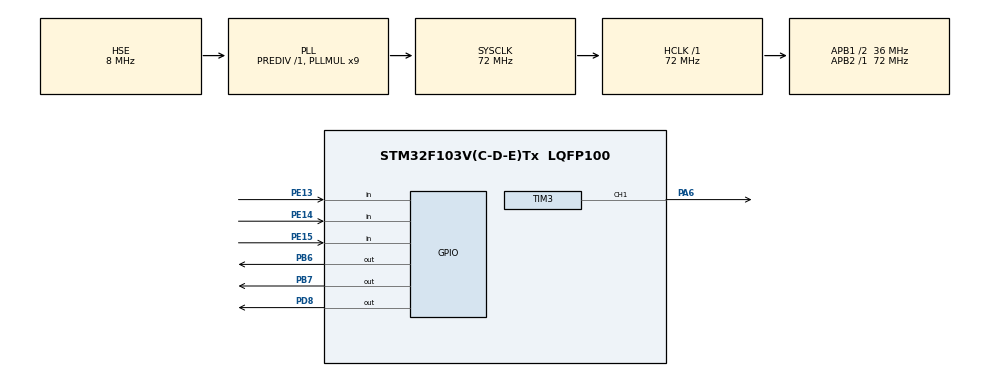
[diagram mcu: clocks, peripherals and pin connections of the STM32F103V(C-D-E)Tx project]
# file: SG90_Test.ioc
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Mcu.Family=STM32F1
Mcu.Name=STM32F103V(C-D-E)Tx
Mcu.Package=LQFP100
NVIC.PriorityGroup=NVIC_PRIORITYGROUP_4
OSC_IN.Mode=HSE-External-Oscillator
OSC_IN.Signal=RCC_OSC_IN
OSC_OUT.Mode=HSE-External-Oscillator
OSC_OUT.Signal=RCC_OSC_OUT
PA13.Mode=Serial_Wire
PA13.Signal=SYS_JTMS-SWDIO
PA14.Mode=Serial_Wire
PA14.Signal=SYS_JTCK-SWCLK
PA6.Signal=S_TIM3_CH1
PB6.PinState=GPIO_PIN_SET
PB6.Signal=GPIO_Output
PB7.PinState=GPIO_PIN_SET
PB7.Signal=GPIO_Output
PD8.PinState=GPIO_PIN_SET
PD8.Signal=GPIO_Output
PE13.GPIO_PuPd=GPIO_PULLUP
PE13.Signal=GPIO_Input
PE14.GPIO_PuPd=GPIO_PULLUP
PE14.Signal=GPIO_Input
PE15.GPIO_PuPd=GPIO_PULLUP
PE15.Signal=GPIO_Input
ProjectManager.HeapSize=0x200
ProjectManager.StackSize=0x400
ProjectManager.TargetToolchain=MDK-ARM V5.32
RCC.AHBFreq_Value=72000000
RCC.APB1CLKDivider=RCC_HCLK_DIV2
RCC.APB1Freq_Value=36000000
RCC.APB1TimFreq_Value=72000000
RCC.APB2Freq_Value=72000000
RCC.APB2TimFreq_Value=72000000
RCC.HCLKFreq_Value=72000000
RCC.PLLMUL=RCC_PLL_MUL9
RCC.PLLSourceVirtual=RCC_PLLSOURCE_HSE
RCC.SYSCLKFreq_VALUE=72000000
RCC.SYSCLKSource=RCC_SYSCLKSOURCE_PLLCLK
RCC.USBFreq_Value=72000000
SH.S_TIM3_CH1.0=TIM3_CH1,PWM Generation1 CH1
TIM3.Channel-PWM\ Generation1\ CH1=TIM_CHANNEL_1
TIM3.Period=19999
TIM3.Prescaler=71
VP_TIM3_VS_ClockSourceINT.Mode=Internal
board=custom

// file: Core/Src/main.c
/*******************************************************************************
 * @file      main.c
 * @author    Sunbinyuan（EEE2409036@xmu.edu.my）
 * @version   V1.0.1
 * @date      2026-11-09
 * @brief     SG90舵机按键控制实验: 3按键(PE13/PE14/PE15, 按下接地)
 *           调整TIM3_CH1(PA6)输出的舵机目标角度(0~180度),
 *           SW2减小/SW3增大当前步进角度, SW4在细调(5度)与
 *           粗调(15度)间切换, LED3/LED4互斥指示模式, LED5心跳500ms

 * @note     预期现象: 上电舵机回中位(90度, 约1500us), LED3亮LED4灭,
 *           LED5每500ms翻转; 按SW2/SW3角度按步进增减(边界饱和不回绕),
 *           按SW4切换步进且LED3/LED4切换; 全程非阻塞,
 *           PWM由TIM3硬件输出(72MHz/72=1us/tick, ARR=19999即50Hz)
 *           时钟HSE 8MHz x PLL9 = 72MHz, APB1=36MHz, TIM3时钟=72MHz

 * @history   V1.0.1 调大按键步进: 细调1->5度, 粗调5->15度          ---2026-11-09
 *            V1.0.0 首版: 舵机按键控制实验(细调/粗调/心跳)       ---2026-10-20
 ******************************************************************************/

/* USER CODE BEGIN Header */
/* 注: 文件信息见顶部规范文件头 (个人编程代码规范) */
/* USER CODE END Header */
#include "main.h"
#include "tim.h"
#include "gpio.h"

/* USER CODE BEGIN Includes */
#include "app_servo.h"
#include "app_button.h"
#include "app_led.h"
/* USER CODE END Includes */

/* USER CODE BEGIN PD */
#define SERVO_STEP_FINE_DEG     5U   /* 细调步进(度/次) */
#define SERVO_STEP_COARSE_DEG  15U   /* 粗调步进(度/次) */
/* USER CODE END PD */

/* USER CODE BEGIN PV */
static uint8_t g_servo_mode = APP_LED_MODE_FINE; /* 当前调节模式 */
/* USER CODE END PV */

void SystemClock_Config(void);

/*************************************
 * 函数名称 ： main
 * 描述     ： 主函数, 初始化时钟/GPIO/TIM3后启动舵机PWM(90度中位),
 *             默认细调模式, 主循环非阻塞执行按键扫描与心跳
 * 输入     ： 无
 * 输出     ： 无
 * 返回     ： 程序不返回
 **************************************/
int main(void)
{
  /* MCU Configuration--------------------------------------------------------*/

  /* Reset of all peripherals, init Flash interface and the Systick. */
  HAL_Init();

  /* Configure the system clock */
  SystemClock_Config();

  /* Initialize all configured peripherals */
  MX_GPIO_Init();
  MX_TIM3_Init();

  /* USER CODE BEGIN 2 */
  app_servo_init();                      /* 启动PWM, 90度约1500us中位 */
  g_servo_mode = APP_LED_MODE_FINE;      /* 上电默认细调(1度/步) */
  app_led_set_mode(g_servo_mode);        /* LED3亮, LED4灭 */
  /* USER CODE END 2 */

  /* Infinite loop */
  /* USER CODE BEGIN WHILE */
  while (1)
  {
    uint8_t events = app_button_scan();  /* 非阻塞按键扫描+消抖 */

    if ((events & APP_BTN_EVENT_MODE) != 0U)
    {
      g_servo_mode ^= 1U;                /* SW4: 细调<->粗调 */
      app_led_set_mode(g_servo_mode);    /* LED3/LED4互斥切换 */
    }
    if ((events & APP_BTN_EVENT_DEC) != 0U)
    {
      uint16_t step = (g_servo_mode == APP_LED_MODE_FINE)
                      ? SERVO_STEP_FINE_DEG : SERVO_STEP_COARSE_DEG;
      uint16_t angle = app_servo_get_angle();

      app_servo_set_angle((uint16_t)(angle - step)); /* 减, 内部限幅 */
    }
    if ((events & APP_BTN_EVENT_INC) != 0U)
    {
      uint16_t step = (g_servo_mode == APP_LED_MODE_FINE)
                      ? SERVO_STEP_FINE_DEG : SERVO_STEP_COARSE_DEG;
      uint16_t angle = app_servo_get_angle();

      app_servo_set_angle((uint16_t)(angle + step)); /* 增, 内部限幅 */
    }

    app_led_heartbeat();                 /* LED5 500ms翻转, 非阻塞 */
    /* USER CODE END WHILE */

  }
}

/*************************************
 * 函数名称 ： SystemClock_Config
 * 描述     ： 配置系统时钟: HSE 8MHz经PLL 9倍频至72MHz,
 *             AHB=72MHz, APB1=36MHz(定时器x2=72MHz), APB2=72MHz,
 *             Flash等待2周期
 * 输入     ： 无
 * 输出     ： 无
 * 返回     ： 无
 **************************************/
void SystemClock_Config(void)
{
  RCC_OscInitTypeDef RCC_OscInitStruct = {0};
  RCC_ClkInitTypeDef RCC_ClkInitStruct = {0};

  /** Initializes the RCC Oscillators according to the specified parameters
  * in the RCC_OscInitTypeDef structure.
  */
  RCC_OscInitStruct.OscillatorType = RCC_OSCILLATORTYPE_HSE;
  RCC_OscInitStruct.HSEState = RCC_HSE_ON;
  RCC_OscInitStruct.HSEPredivValue = RCC_HSE_PREDIV_DIV1;
  RCC_OscInitStruct.HSIState = RCC_HSI_ON;
  RCC_OscInitStruct.PLL.PLLState = RCC_PLL_ON;
  RCC_OscInitStruct.PLL.PLLSource = RCC_PLLSOURCE_HSE;
  RCC_OscInitStruct.PLL.PLLMUL = RCC_PLL_MUL9;
  if (HAL_RCC_OscConfig(&RCC_OscInitStruct) != HAL_OK)
  {
    Error_Handler();
  }

  /** Initializes the CPU, AHB and APB buses clocks
  */
  RCC_ClkInitStruct.ClockType = RCC_CLOCKTYPE_HCLK|RCC_CLOCKTYPE_SYSCLK
                              |RCC_CLOCKTYPE_PCLK1|RCC_CLOCKTYPE_PCLK2;
  RCC_ClkInitStruct.SYSCLKSource = RCC_SYSCLKSOURCE_PLLCLK;
  RCC_ClkInitStruct.AHBCLKDivider = RCC_SYSCLK_DIV1;
  RCC_ClkInitStruct.APB1CLKDivider = RCC_HCLK_DIV2;
  RCC_ClkInitStruct.APB2CLKDivider = RCC_HCLK_DIV1;

  if (HAL_RCC_ClockConfig(&RCC_ClkInitStruct, FLASH_LATENCY_2) != HAL_OK)
  {
    Error_Handler();
  }
}

/*************************************
 * 函数名称 ： Error_Handler
 * 描述     ： HAL库错误处理, 关全局中断后死循环(可在此挂断言/日志)
 * 输入     ： 无
 * 输出     ： 无
 * 返回     ： 无
 **************************************/
void Error_Handler(void)
{
  __disable_irq();
  while (1)
  {
  }
}
#ifdef USE_FULL_ASSERT
/*************************************
 * 函数名称 ： assert_failed
 * 描述     ： HAL断言失败回调, 报告出错文件与行号
 * 输入     ： file - 源文件名; line - 行号
 * 输出     ： 无
 * 返回     ： 无
 **************************************/
void assert_failed(uint8_t *file, uint32_t line)
{
  /* USER CODE BEGIN 6 */
  /* User can add his own implementation to report the file name and
     line number,
     ex: printf("Wrong parameters value: file %s on line %d\r\n", file, line) */
  /* USER CODE END 6 */
}
#endif /* USE_FULL_ASSERT */
